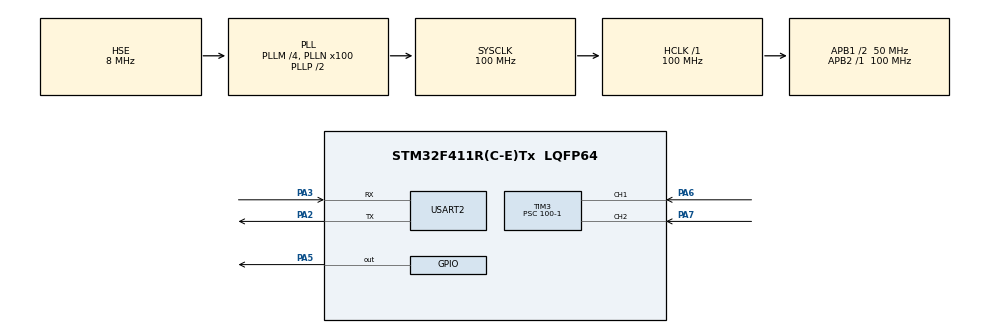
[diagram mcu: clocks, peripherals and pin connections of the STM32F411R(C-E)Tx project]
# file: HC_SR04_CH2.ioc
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Mcu.Family=STM32F4
Mcu.Name=STM32F411R(C-E)Tx
Mcu.Package=LQFP64
NVIC.PriorityGroup=NVIC_PRIORITYGROUP_4
NVIC.TIM3_IRQn=true\:0\:0\:false\:false\:true\:true\:true\:true
NVIC.USART2_IRQn=true\:0\:0\:false\:false\:true\:true\:true\:true
PA13.Mode=Serial_Wire
PA13.Signal=SYS_JTMS-SWDIO
PA14.Mode=Serial_Wire
PA14.Signal=SYS_JTCK-SWCLK
PA2.Mode=Asynchronous
PA2.Signal=USART2_TX
PA3.Mode=Asynchronous
PA3.Signal=USART2_RX
PA5.Signal=GPIO_Output
PA6.Signal=S_TIM3_CH1
PA7.Signal=S_TIM3_CH2
PH0\ -\ OSC_IN.Mode=HSE-External-Oscillator
PH0\ -\ OSC_IN.Signal=RCC_OSC_IN
PH1\ -\ OSC_OUT.Mode=HSE-External-Oscillator
PH1\ -\ OSC_OUT.Signal=RCC_OSC_OUT
ProjectManager.HeapSize=0x200
ProjectManager.StackSize=0x400
ProjectManager.TargetToolchain=STM32CubeIDE
RCC.48MHZClocksFreq_Value=50000000
RCC.AHBFreq_Value=100000000
RCC.APB1CLKDivider=RCC_HCLK_DIV2
RCC.APB1Freq_Value=50000000
RCC.APB1TimFreq_Value=100000000
RCC.APB2Freq_Value=100000000
RCC.APB2TimFreq_Value=100000000
RCC.CortexFreq_Value=100000000
RCC.HCLKFreq_Value=100000000
RCC.HSE_VALUE=8000000
RCC.HSI_VALUE=16000000
RCC.LSE_VALUE=32768
RCC.PLLM=4
RCC.PLLN=100
RCC.PLLSourceVirtual=RCC_PLLSOURCE_HSE
RCC.SYSCLKFreq_VALUE=100000000
RCC.SYSCLKSource=RCC_SYSCLKSOURCE_PLLCLK
RCC.VCOOutputFreq_Value=200000000
SH.S_TIM3_CH1.0=TIM3_CH1,Input_Capture1_from_TI1
SH.S_TIM3_CH2.0=TIM3_CH2,Input_Capture2_from_TI2
TIM3.Channel-Input_Capture1_from_TI1=TIM_CHANNEL_1
TIM3.Channel-Input_Capture2_from_TI2=TIM_CHANNEL_2
TIM3.ICPolarity_CH2=TIM_INPUTCHANNELPOLARITY_FALLING
TIM3.Prescaler=100-1
USART2.VirtualMode=VM_ASYNC
VP_TIM3_VS_ClockSourceINT.Mode=Internal
board=custom

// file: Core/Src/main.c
/* USER CODE BEGIN Header */
/**
  ******************************************************************************
  * @file           : main.c
  * @brief          : Main program body
  ******************************************************************************
  * @attention
  *
  * Copyright (c) 2023 STMicroelectronics.
  * All rights reserved.
  *
  * This software is licensed under terms that can be found in the LICENSE file
  * in the root directory of this software component.
  * If no LICENSE file comes with this software, it is provided AS-IS.
  *
  ******************************************************************************
  */
/* USER CODE END Header */
#include "main.h"
#include "tim.h"
#include "usart.h"
#include "gpio.h"

/* USER CODE BEGIN PD */
#define TRIG_PORT   GPIOA
#define TRIG_PIN    GPIO_PIN_5
/* USER CODE END PD */

/* USER CODE BEGIN PM */
#ifdef __GNUC__
  /* With GCC, small printf (option LD Linker->Libraries->Small printf
     set to 'Yes') calls __io_putchar() */
  #define PUTCHAR_PROTOTYPE int __io_putchar(int ch)
#else
  #define PUTCHAR_PROTOTYPE int fputc(int ch, FILE *f)
#endif /* __GNUC__ */
PUTCHAR_PROTOTYPE
{
  /* Place your implementation of fputc here */
  /* e.g. write a character to the EVAL_COM1 and Loop until the end of transmission */
  HAL_UART_Transmit(&huart2, (uint8_t *)&ch, 1, 0xFFFF);

  return ch;
}
/* USER CODE END PM */

/* USER CODE BEGIN PV */
uint32_t INC_Value1 = 0;
uint32_t INC_Value2 = 0;
uint32_t echoTime = 0;
uint8_t captureFlag = 0;
uint8_t distance = 0;

/* USER CODE END PV */

void SystemClock_Config(void);
/* USER CODE BEGIN PFP */
void HAL_TIM_IC_CaptureCallback(TIM_HandleTypeDef *htim)
{
  if(htim->Channel == HAL_TIM_ACTIVE_CHANNEL_1)
  {

      INC_Value1 = HAL_TIM_ReadCapturedValue(htim, TIM_CHANNEL_1);
      __HAL_TIM_DISABLE_IT(&htim3,TIM_IT_CC1);
      __HAL_TIM_ENABLE_IT(&htim3,TIM_IT_CC2);

  }
  else if(htim->Channel == HAL_TIM_ACTIVE_CHANNEL_2) // INC_Value1 captured
    {
      INC_Value2 = HAL_TIM_ReadCapturedValue(htim, TIM_CHANNEL_2);
      __HAL_TIM_SET_COUNTER(htim,0);

      if(INC_Value2>INC_Value1)
            {
              echoTime = INC_Value2 - INC_Value1;
            }
            else if (INC_Value1> INC_Value2)
            {
              echoTime = (0xffff - INC_Value1) + INC_Value2;
            }
      distance = echoTime / 58;
      __HAL_TIM_DISABLE_IT(&htim3,TIM_IT_CC2);
    }

}
void HCSR04_Read(void)
{
  HAL_GPIO_WritePin(TRIG_PORT, TRIG_PIN, GPIO_PIN_SET);
  delay_us(10);
  HAL_GPIO_WritePin(TRIG_PORT, TRIG_PIN, GPIO_PIN_RESET);

  __HAL_TIM_ENABLE_IT(&htim3,TIM_IT_CC1);

}
/* USER CODE END PFP */

int main(void)
{

  /* MCU Configuration--------------------------------------------------------*/

  /* Reset of all peripherals, Initializes the Flash interface and the Systick. */
  HAL_Init();

  /* Configure the system clock */
  SystemClock_Config();

  /* Initialize all configured peripherals */
  MX_GPIO_Init();
  MX_TIM3_Init();
  MX_USART2_UART_Init();
  /* USER CODE BEGIN 2 */
  HAL_TIM_IC_Start_IT(&htim3, TIM_CHANNEL_1);
  HAL_TIM_IC_Start_IT(&htim3, TIM_CHANNEL_2);
  /* USER CODE END 2 */

  /* Infinite loop */
  while (1)
  {

    /* USER CODE BEGIN 3 */
    HCSR04_Read();
    printf("%d cm\r\n",distance);
    HAL_Delay(500);
  }
  /* USER CODE END 3 */
}

void SystemClock_Config(void)
{
  RCC_OscInitTypeDef RCC_OscInitStruct = {0};
  RCC_ClkInitTypeDef RCC_ClkInitStruct = {0};

  /** Configure the main internal regulator output voltage
  */
  __HAL_RCC_PWR_CLK_ENABLE();
  __HAL_PWR_VOLTAGESCALING_CONFIG(PWR_REGULATOR_VOLTAGE_SCALE1);

  /** Initializes the RCC Oscillators according to the specified parameters
  * in the RCC_OscInitTypeDef structure.
  */
  RCC_OscInitStruct.OscillatorType = RCC_OSCILLATORTYPE_HSE;
  RCC_OscInitStruct.HSEState = RCC_HSE_ON;
  RCC_OscInitStruct.PLL.PLLState = RCC_PLL_ON;
  RCC_OscInitStruct.PLL.PLLSource = RCC_PLLSOURCE_HSE;
  RCC_OscInitStruct.PLL.PLLM = 4;
  RCC_OscInitStruct.PLL.PLLN = 100;
  RCC_OscInitStruct.PLL.PLLP = RCC_PLLP_DIV2;
  RCC_OscInitStruct.PLL.PLLQ = 4;
  if (HAL_RCC_OscConfig(&RCC_OscInitStruct) != HAL_OK)
  {
    Error_Handler();
  }

  /** Initializes the CPU, AHB and APB buses clocks
  */
  RCC_ClkInitStruct.ClockType = RCC_CLOCKTYPE_HCLK|RCC_CLOCKTYPE_SYSCLK
                              |RCC_CLOCKTYPE_PCLK1|RCC_CLOCKTYPE_PCLK2;
  RCC_ClkInitStruct.SYSCLKSource = RCC_SYSCLKSOURCE_PLLCLK;
  RCC_ClkInitStruct.AHBCLKDivider = RCC_SYSCLK_DIV1;
  RCC_ClkInitStruct.APB1CLKDivider = RCC_HCLK_DIV2;
  RCC_ClkInitStruct.APB2CLKDivider = RCC_HCLK_DIV1;

  if (HAL_RCC_ClockConfig(&RCC_ClkInitStruct, FLASH_LATENCY_3) != HAL_OK)
  {
    Error_Handler();
  }
}

void Error_Handler(void)
{
  __disable_irq();
  while (1)
  {
  }
}
